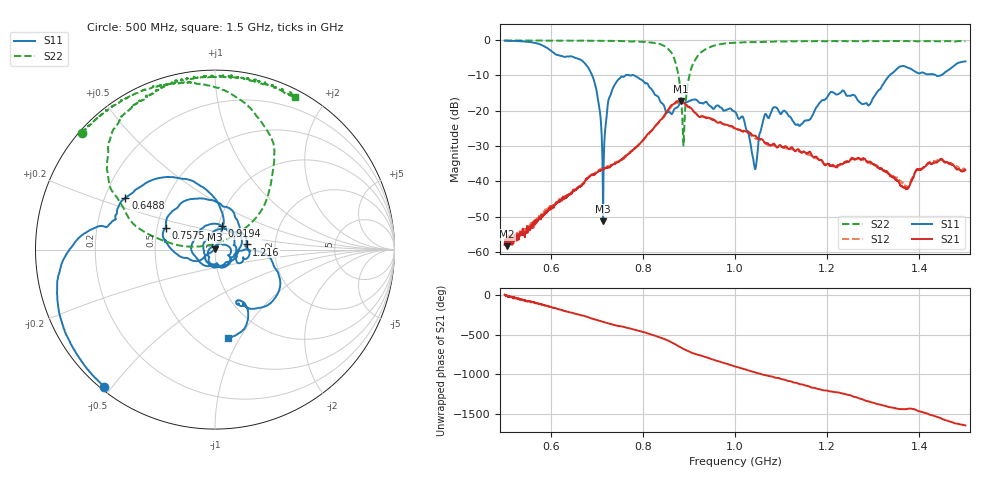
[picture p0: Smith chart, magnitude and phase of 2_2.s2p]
!Agilent Technologies,E8364B,US42250235,A.06.04.32
!Agilent E8364B: A.06.04.32
!Date: Friday, January 15, 2021 12:01:54
!Correction: S11(Full 2 Port(1,2)) S21(Full 2 Port(1,2)) S12(Full 2 Port(1,2)) S22(Full 2 Port(1,2))
!S2P File: Measurements: S11, S21, S12, S22:
# Hz S  dB  R 50
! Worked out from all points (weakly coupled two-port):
!   1601 points, 500 MHz to 1.5 GHz, reference 50 ohm
!   highest |S21| = -17.21 dB at 883.1 MHz (marker M1); lowest = -58.3 dB at 505.6 MHz (marker M2)
!   lowest |S11| = -51.3 dB at 713.8 MHz (marker M3), VSWR 1.01, Z = 49.8 + j0.157 ohm
!   |S11| at or under -10 dB: 690.1 MHz to 762.4 MHz (72.36 MHz wide, 9.96 % of centre); 781.2 MHz to 1.335 GHz (553.9 MHz wide, 52.3 % of centre); 1.436 GHz to 1.446 GHz (9.894 MHz wide, 0.686 % of centre) (the widest 3 of 4)
!   |S22| runs from -29.8 to -0.1 dB; largest |S21 - S12| = 0.012
!   S11 on the Smith chart (normalised r, x): 500 MHz: 0.01, -0.48; 648.8 MHz: 0.29, +0.25; 757.5 MHz: 0.55, +0.15; 919.4 MHz: 1.04, +0.28; 1.216 GHz: 1.42, +0.09; 1.5 GHz: 0.68, -0.90
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5e8  -0.16 -128.9  -57.98 6.9  -56.69 7.0  -0.12 138.6
5.05625e8  -0.18 -131.2  -58.31 -5.8  -55.64 -9.0  -0.13 138.3
5.7e8  -0.92 -167.6  -50.84 -104.6  -51.22 -101.0  -0.14 132.1
6.4875e8  -4.79 150.1  -42.85 132.0  -42.25 133.7  -0.16 124.1
6.66875e8  -5.70 131.1  -41.19 104.2  -41.01 105.4  -0.16 122.0
6.9625e8  -12.51 83.3  -37.81 51.6  -37.61 55.0  -0.20 118.6
7.1375e8  -51.30 144.6  -36.52 21.4  -36.09 23.2  -0.22 116.6
7.2875e8  -15.89 -163.1  -36.00 -2.7  -35.54 -1.6  -0.23 114.1
7.575e8  -10.43 155.9  -33.29 -40.3  -33.67 -43.8  -0.31 110.3
8.3375e8  -16.12 16.1  -23.41 -168.2  -23.50 -172.7  -1.00 86.7
8.675e8  -19.71 -117.5  -18.07 106.6  -18.30 102.6  -5.00 54.6
8.83125e8  -17.49 174.1  -17.21 56.1  -17.64 53.0  -16.47 35.4
8.89375e8  -17.81 154.9  -17.79 35.6  -18.13 33.3  -26.63 149.3
9.19375e8  -17.23 74.1  -21.36 -35.0  -21.35 -37.1  -4.43 153.0
1e9  -20.32 -69.3  -25.00 178.6  -25.05 172.6  -0.76 120.5
1.043125e9  -36.40 88.7  -27.01 103.8  -27.63 96.3  -0.57 114.1
1.084375e9  -19.00 -44.8  -29.32 42.7  -29.78 36.9  -0.44 107.4
1.166875e9  -21.60 105.6  -32.54 -89.1  -32.88 -93.7  -0.34 97.7
1.215625e9  -14.99 9.4  -35.61 -145.8  -35.83 -152.0  -0.28 93.1
1.290625e9  -18.46 -11.1  -34.35 96.5  -34.76 87.3  -0.22 85.3
1.33375e9  -10.20 -8.1  -37.80 26.1  -37.82 19.7  -0.29 80.8
1.5e9  -6.02 -81.5  -36.73 152.9  -36.55 142.4  -0.34 62.4
